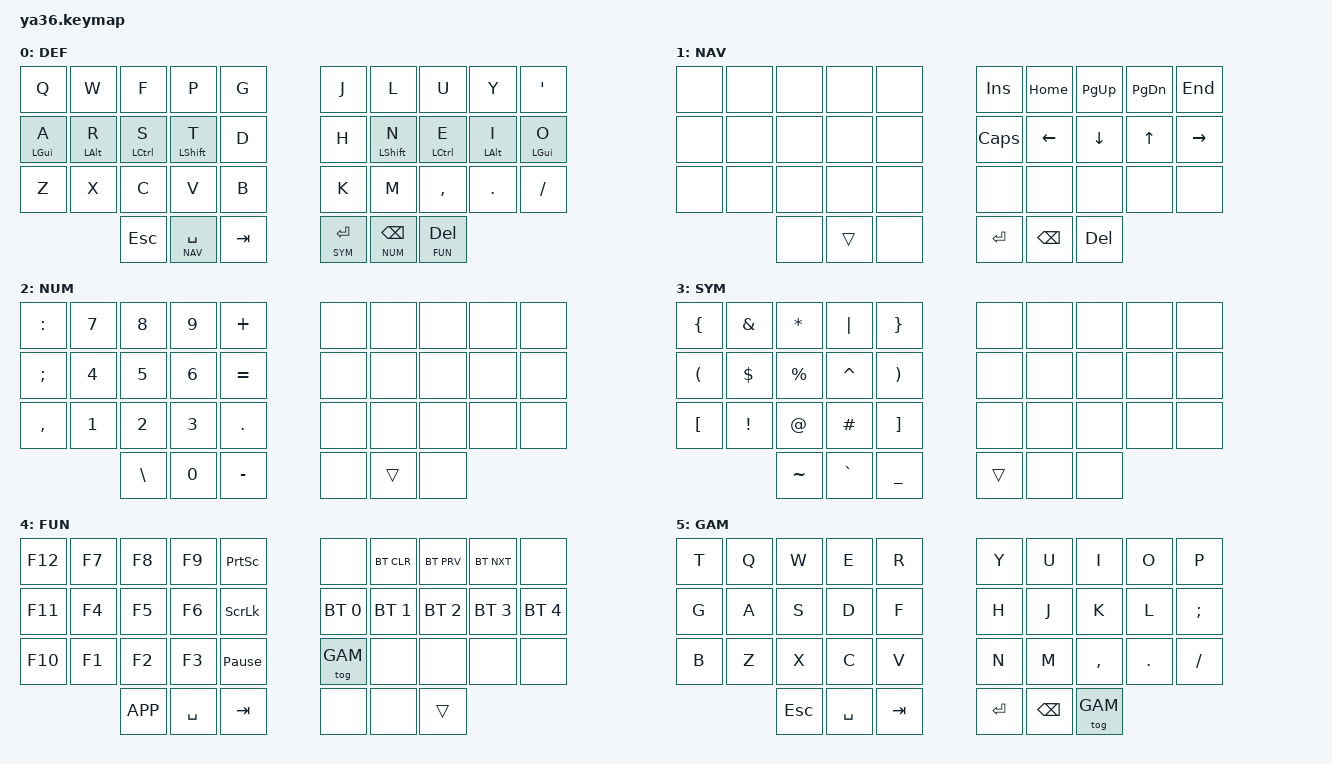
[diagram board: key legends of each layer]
#include <behaviors.dtsi>
#include <dt-bindings/zmk/keys.h>
#include <dt-bindings/zmk/bt.h>

#define DEF 0
#define NAV 1
#define NUM 2
#define SYM 3
#define FUN 4
#define GAM 5

/ {
  behaviors {
    hm: homerow_mods {
      compatible = "zmk,behavior-hold-tap";
      label = "HOMEROW_MODS";
      #binding-cells = <2>;
      tapping_term_ms = <200>;
      flavor = "tap-preferred";
      bindings = <&kp>, <&kp>;
    };
  };

  keymap {
    compatible = "zmk,keymap";

    DEF {
      bindings = <
        &kp Q &kp W &kp F &kp P &kp G  &kp J &kp L &kp U &kp Y &kp SQT
        &hm LGUI A &hm LALT R &hm LCTRL S &hm LSHFT T &kp D  &kp H &hm LSHFT N &hm LCTRL E &hm LALT I &hm LGUI O
        &kp Z &kp X &kp C &kp V &kp B  &kp K &kp M &kp COMMA &kp PERIOD &kp FSLH
        &kp ESC &lt NAV SPACE &kp TAB  &lt SYM ENTER &lt NUM BSPC &lt FUN DEL
      >;
    };

    NAV {
      bindings = <
        &none &none &none &none &none  &kp INS &kp HOME &kp PG_UP &kp PG_DN &kp END
        &none &none &none &none &none  &kp CAPS &kp LEFT &kp DOWN &kp UP &kp RIGHT
        &none &none &none &none &none  &none &none &none &none &none
        &none &trans &none  &kp ENTER &kp BSPC &kp DEL
      >;
    };

    NUM {
      bindings = <
        &kp COLON &kp NUMBER_7 &kp NUMBER_8 &kp NUMBER_9 &kp PLUS  &none &none &none &none &none
        &kp SEMI &kp NUMBER_4 &kp NUMBER_5 &kp NUMBER_6 &kp EQUAL  &none &none &none &none &none
        &kp COMMA &kp NUMBER_1 &kp NUMBER_2 &kp NUMBER_3 &kp PERIOD  &none &none &none &none &none
        &kp BSLH &kp NUMBER_0 &kp MINUS  &none &trans &none
      >;
    };

    SYM {
      bindings = <
        &kp LBRC &kp AMPS &kp ASTRK &kp PIPE &kp RBRC  &none &none &none &none &none
        &kp LPAR &kp DLLR &kp PRCNT &kp CARET &kp RPAR  &none &none &none &none &none
        &kp LBKT &kp EXCL &kp AT &kp HASH &kp RBKT  &none &none &none &none &none
        &kp TILDE &kp GRAVE &kp UNDER  &trans &none &none
      >;
    };

    FUN {
      bindings = <
        &kp F12 &kp F7 &kp F8 &kp F9 &kp PSCRN  &none &bt BT_CLR &bt BT_PRV &bt BT_NXT &none
        &kp F11 &kp F4 &kp F5 &kp F6 &kp SLCK  &bt BT_SEL 0 &bt BT_SEL 1 &bt BT_SEL 2 &bt BT_SEL 3 &bt BT_SEL 4
        &kp F10 &kp F1 &kp F2 &kp F3 &kp PAUSE_BREAK  &tog GAM &none &none &none &none
        &kp K_APP &kp SPACE &kp TAB  &none &none &trans
      >;
    };

    GAM {
      bindings = <
        &kp T &kp Q &kp W &kp E &kp R  &kp Y &kp U &kp I &kp O &kp P
        &kp G &kp A &kp S &kp D &kp F  &kp H &kp J &kp K &kp L &kp SEMI
        &kp B &kp Z &kp X &kp C &kp V  &kp N &kp M &kp COMMA &kp PERIOD &kp FSLH
        &kp ESC &kp SPACE &kp TAB  &kp ENTER &kp BSPC &tog GAM
      >;
    };
  };
};
